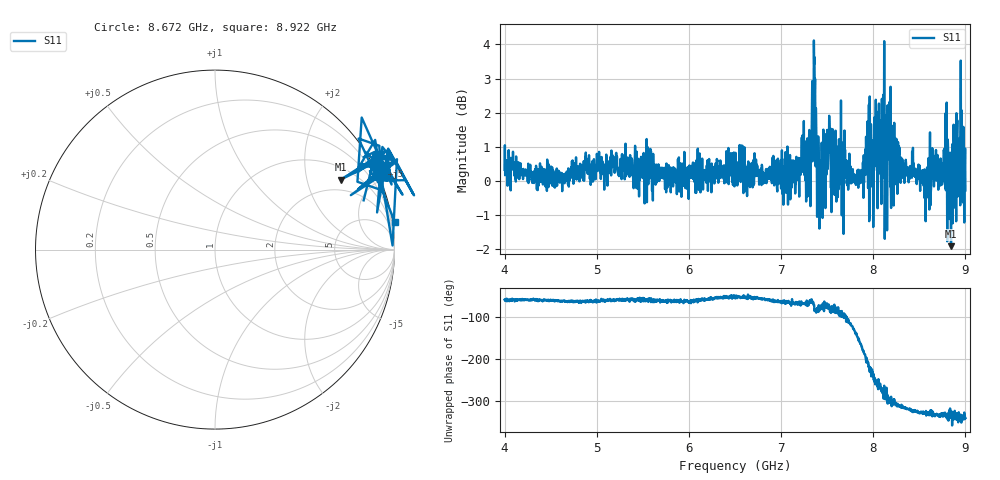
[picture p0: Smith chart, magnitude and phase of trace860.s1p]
! Created with skrf 1.8.0 (http://scikit-rf.org).
# Hz S RI R 50.0
!freq ReS11 ImS11
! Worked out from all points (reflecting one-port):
!   1601 points, 4 GHz to 9 GHz, reference 50 ohm
!   lowest |S11| = -1.9 dB at 8.844 GHz (marker M1), VSWR 9.11, Z = 73.8 + j161 ohm
!   phase of S11 starts at -57 deg and turns -284 deg over the sweep
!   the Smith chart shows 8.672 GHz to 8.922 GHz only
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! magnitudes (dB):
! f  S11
! 4 GHz  0.3
! 4.625 GHz  -0.3
! 5.25 GHz  0.3
! 5.875 GHz  0.2
! 6.5 GHz  0.5
! 7.125 GHz  0.2
! 7.225 GHz  1.3
! 7.294 GHz  0.6
! 7.359 GHz  3.4
! 7.412 GHz  0.0
! 7.512 GHz  0.8
! 7.591 GHz  1.5
! 7.65 GHz  2.4
! 7.75 GHz  0.0
! 7.869 GHz  0.3
! 8.038 GHz  0.7
! 8.066 GHz  0.2
! 8.097 GHz  0.6
! 8.109 GHz  2.5
! 8.15 GHz  -1.5
! 8.162 GHz  0.6
! 8.216 GHz  0.7
! 8.375 GHz  0.4
! 8.588 GHz  0.4
! 8.788 GHz  -0.3
! 8.844 GHz  -1.9
! 8.956 GHz  0.5
! 9 GHz  -0.3
